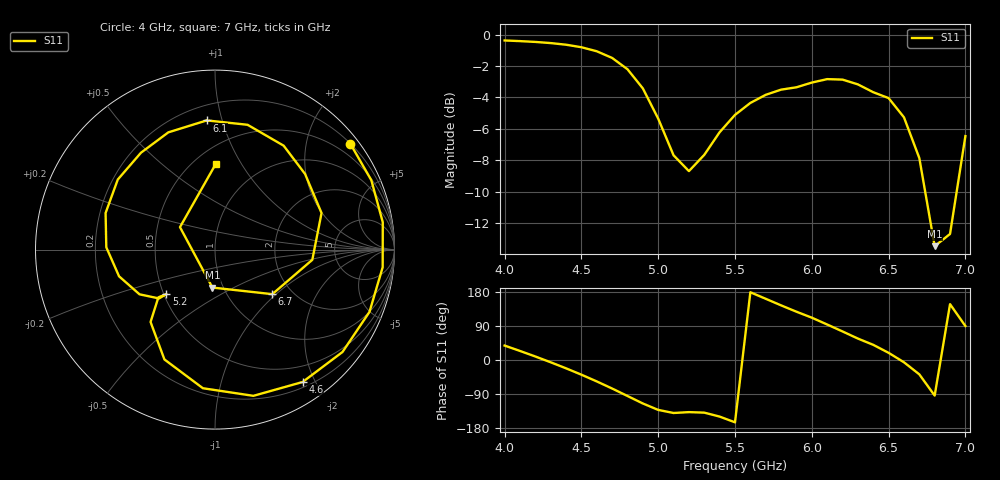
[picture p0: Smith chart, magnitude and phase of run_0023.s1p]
! Touchstone file exported from HFSS 2024.2.0
!  File:  C:/Users/wsak9/Desktop/Sim Fast/Widenad Patch/WP_AI_V1_sweep.aedt
!  Generated:  03:41:58 PM Oct 13, 2026
!  Design:  A1_model
!  Project:  WP_AI_V1_sweep
!  Setup:  Setup1
!  Solution:  Sweep
! Variables:
!  Air_gap = 1.5mm
!  Curve_Amp1 = 0.74
!  Curve_len1 = 1
!  Curve_pos = 9.745mm
!  Extra = 7.03mm
!  H_sub = 0.79mm
!  L_Patch = 15.49mm
!  L_Patch1 = 17.17mm
!  Sx = 1.55mm
!  Sy = 3.41mm
!  WS = 1.05mm
!  W_Patch = 18.78mm
!  W_Patch1 = 10.14mm
!Data is not renormalized
# GHz S MA
! Terminal data exported
! Port[1] = 1
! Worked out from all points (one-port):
!   31 points, 4 GHz to 7 GHz, reference per port
!   lowest |S11| = -13.5 dB at 6.8 GHz (marker M1), VSWR 1.54
!   |S11| at or under -10 dB: 6.738 GHz to 6.943 GHz (205.2 MHz wide, 3 % of centre)
!   S11 on the Smith chart (normalised r, x): 4 GHz: 0.20, +2.88; 4.6 GHz: 0.27, -1.83; 5.2 GHz: 0.52, -0.30; 6.1 GHz: 0.30, +0.89; 6.7 GHz: 1.59, -0.95; 7 GHz: 0.63, +0.78
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4  0.9575 38.1
4.2  0.9471 9.3
4.3  0.9393 -6.0
4.4  0.9281 -22.0
4.5  0.9111 -38.8
4.6  0.8845 -56.5
4.7  0.8423 -75.3
4.8  0.7753 -95.0
4.9  0.6738 -114.7
5  0.5398 -131.7
5.1  0.4127 -139.9
5.2  0.3675 -137.5
5.3  0.414 -138.9
5.4  0.4887 -149.3
5.5  0.5549 -164.4
5.6  0.6057 178.8
5.7  0.6428 161.5
5.9  0.6793 127.4
6  0.7031 111.7
6.1  0.7212 93.7
6.2  0.7186 75.4
6.3  0.6939 56.6
6.5  0.6276 18.9
6.6  0.5452 -6.0
6.7  0.4044 -37.9
6.8  0.212 -93.9
6.9  0.2318 147.3
7  0.475 89.6
